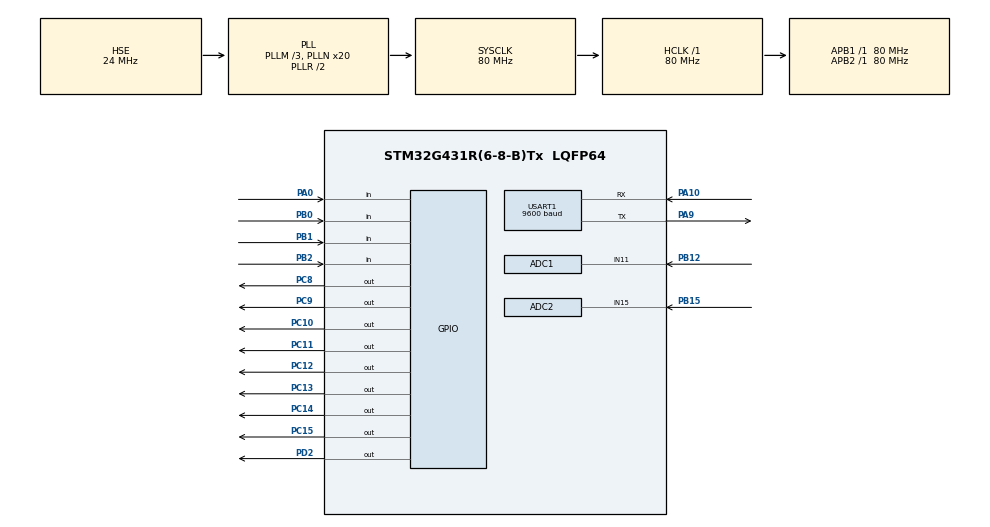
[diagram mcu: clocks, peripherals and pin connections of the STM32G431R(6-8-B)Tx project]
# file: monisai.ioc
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ADC1.Channel-0\#ChannelRegularConversion=ADC_CHANNEL_11
ADC1.NbrOfConversionFlag=1
ADC1.OffsetNumber-0\#ChannelRegularConversion=ADC_OFFSET_NONE
ADC1.Rank-0\#ChannelRegularConversion=1
ADC1.SamplingTime-0\#ChannelRegularConversion=ADC_SAMPLETIME_2CYCLES_5
ADC1.master=1
ADC2.Channel-0\#ChannelRegularConversion=ADC_CHANNEL_15
ADC2.NbrOfConversionFlag=1
ADC2.OffsetNumber-0\#ChannelRegularConversion=ADC_OFFSET_NONE
ADC2.Rank-0\#ChannelRegularConversion=1
ADC2.SamplingTime-0\#ChannelRegularConversion=ADC_SAMPLETIME_2CYCLES_5
Mcu.Family=STM32G4
Mcu.Name=STM32G431R(6-8-B)Tx
Mcu.Package=LQFP64
NVIC.ADC1_2_IRQn=true\:0\:0\:false\:false\:true\:true\:true
NVIC.PriorityGroup=NVIC_PRIORITYGROUP_4
NVIC.TIM2_IRQn=true\:0\:0\:true\:false\:true\:true\:true
NVIC.USART1_IRQn=true\:0\:0\:false\:false\:true\:true\:true
PA0.GPIO_PuPd=GPIO_PULLUP
PA0.Signal=GPIO_Input
PA10.Mode=Asynchronous
PA10.Signal=USART1_RX
PA13.Mode=Serial_Wire
PA13.Signal=SYS_JTMS-SWDIO
PA14.Mode=Serial_Wire
PA14.Signal=SYS_JTCK-SWCLK
PA9.Mode=Asynchronous
PA9.Signal=USART1_TX
PB0.GPIO_PuPd=GPIO_PULLUP
PB0.Signal=GPIO_Input
PB1.GPIO_PuPd=GPIO_PULLUP
PB1.Signal=GPIO_Input
PB12.Mode=IN11-Single-Ended
PB12.Signal=ADC1_IN11
PB15.Mode=IN15-Single-Ended
PB15.Signal=ADC2_IN15
PB2.GPIO_PuPd=GPIO_PULLUP
PB2.Signal=GPIO_Input
PC10.Signal=GPIO_Output
PC11.Signal=GPIO_Output
PC12.Signal=GPIO_Output
PC13.Signal=GPIO_Output
PC14-OSC32_IN.Signal=GPIO_Output
PC15-OSC32_OUT.Signal=GPIO_Output
PC8.Signal=GPIO_Output
PC9.Signal=GPIO_Output
PD2.Signal=GPIO_Output
PF0-OSC_IN.Mode=HSE-External-Oscillator
PF0-OSC_IN.Signal=RCC_OSC_IN
PF1-OSC_OUT.Mode=HSE-External-Oscillator
PF1-OSC_OUT.Signal=RCC_OSC_OUT
ProjectManager.HeapSize=0x200
ProjectManager.StackSize=0x400
ProjectManager.TargetToolchain=MDK-ARM V5
RCC.ADC12Freq_Value=80000000
RCC.AHBFreq_Value=80000000
RCC.APB1Freq_Value=80000000
RCC.APB1TimFreq_Value=80000000
RCC.APB2Freq_Value=80000000
RCC.APB2TimFreq_Value=80000000
RCC.CortexFreq_Value=80000000
RCC.EXTERNAL_CLOCK_VALUE=12288000
RCC.HCLKFreq_Value=80000000
RCC.HSE_VALUE=24000000
RCC.HSI48_VALUE=48000000
RCC.HSI_VALUE=16000000
RCC.LSE_VALUE=32768
RCC.PLLM=RCC_PLLM_DIV3
RCC.PLLN=20
RCC.PLLSourceVirtual=RCC_PLLSOURCE_HSE
RCC.SYSCLKFreq_VALUE=80000000
RCC.SYSCLKSource=RCC_SYSCLKSOURCE_PLLCLK
RCC.USBFreq_Value=80000000
RCC.VCOOutputFreq_Value=160000000
TIM2.PeriodNoDither=10000-1
TIM2.Prescaler=80-1
USART1.BaudRate=9600
USART1.VirtualMode-Asynchronous=VM_ASYNC
USART1.WordLength=WORDLENGTH_8B
VP_SYS_VS_DBSignals.Mode=DisableDeadBatterySignals
VP_TIM2_VS_ClockSourceINT.Mode=Internal
board=custom

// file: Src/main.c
/* USER CODE BEGIN Header */
/**
  ******************************************************************************
  * @file           : main.c
  * @brief          : Main program body
  ******************************************************************************
  * @attention
  *
  * <h2><center>&copy; Copyright (c) 2024 STMicroelectronics.
  * All rights reserved.</center></h2>
  *
  * This software component is licensed by ST under BSD 3-Clause license,
  * the "License"; You may not use this file except in compliance with the
  * License. You may obtain a copy of the License at:
  *                        opensource.org/licenses/BSD-3-Clause
  *
  ******************************************************************************
  */
/* USER CODE END Header */

#include "main.h"
#include "adc.h"
#include "tim.h"
#include "usart.h"
#include "gpio.h"

/* USER CODE BEGIN Includes */
#include "stdio.h"
#include "lcd.h"
#include "led.h"
#include "key.h"
#include "myfile.h"
#include "string.h"
/* USER CODE END Includes */

/* USER CODE BEGIN PV */

//R37 R38电压值变量定义
float v_37,v_38;
//R37 R38电压值上下限定义
float standard_37_up=2.2;
float standard_37_down=1.2;
float standard_38_up=3.0;
float standard_38_down=1.4;

//总检测数，符合标准数，合格率的变量定义
uint8_t check_total_37=0;
uint8_t standard_total_37=0;
float qulify_ratio_37=0.0;

uint8_t check_total_38=0;
uint8_t standard_total_38=0;
float qulify_ratio_38=0.0;

//定义当前所处界面的变量
// 0--产品参数界面		1--标准设置界面	2--合格率界面
uint8_t menu=0;

//定义产品参数界面下要调整的检测标准变化的变量
//update_standard%4==0--调整产品R37上限
//update_standard%4==1--调整产品R37下限
//update_standard%4==2--调整产品R38上限
//update_standard%4==3--调整产品R38下限
int8_t update_standard=-1;

//定义R37 R38 是否检测合格的标志变量
uint8_t qulify_37=0;
uint8_t qulify_38=0;

//串口缓存
char TX_Buff[50];
char RX_Buff[50];

unsigned char BufIndex=0;
unsigned char Rxdat=0;

//标记R37,R38检测是否合格
uint8_t standard_37=0;
uint8_t standard_38=0;

//定时器计数
uint8_t tim_count=0;

/* USER CODE END PV */

void SystemClock_Config(void);

/* USER CODE BEGIN 0 */

//LCD显示函数
void Display_Lcd()
{

	char str[30];

	if((menu%3)==0)
	{
		sprintf(str,"       GOODS        ");
		LCD_DisplayStringLine(Line1,(u8*)str);
		sprintf(str,"     R37:%.2fV      ",v_37);
		LCD_DisplayStringLine(Line3,(u8*)str);
		sprintf(str,"     R38:%.2fV      ",v_38);
		LCD_DisplayStringLine(Line4,(u8*)str);
	}
	else if((menu%3)==1)
	{
		sprintf(str,"      STANDARD      ");
		LCD_DisplayStringLine(Line1,(u8*)str);
		sprintf(str,"    SR37:%.1f-%.1f    ",standard_37_down,standard_37_up);
		LCD_DisplayStringLine(Line3,(u8*)str);
		sprintf(str,"    SR38:%.1f-%.1f    ",standard_38_down,standard_38_up);
		LCD_DisplayStringLine(Line4,(u8*)str);
	}
	else
	{
		sprintf(str,"        PASS        ");
		LCD_DisplayStringLine(Line1,(u8*)str);
		sprintf(str,"     PR37:%.1f%%     ",qulify_ratio_37);
		LCD_DisplayStringLine(Line3,(u8*)str);
		sprintf(str,"     PR38:%.1f%%     ",qulify_ratio_38);
		LCD_DisplayStringLine(Line4,(u8*)str);
	}

}

//获取电压值
void Get_ADC(uint8_t type)
{

	if(type==38)
	{
		HAL_ADC_Start(&hadc1);
		v_38=HAL_ADC_GetValue(&hadc1);
		HAL_ADC_Stop(&hadc1);
		v_38=v_38*3.3/4096;
	}
	else
	{
		HAL_ADC_Start(&hadc2);
		v_37=HAL_ADC_GetValue(&hadc2);
		HAL_ADC_Stop(&hadc2);
		v_37=v_37*3.3/4096;
	}

}

/* USER CODE END 0 */

int main(void)
{

  /* MCU Configuration--------------------------------------------------------*/

  /* Reset of all peripherals, Initializes the Flash interface and the Systick. */
  HAL_Init();

  /* Configure the system clock */
  SystemClock_Config();

  /* Initialize all configured peripherals */
  MX_GPIO_Init();
  MX_ADC1_Init();
  MX_ADC2_Init();
  MX_TIM2_Init();
  MX_USART1_UART_Init();
  /* USER CODE BEGIN 2 */

	HAL_UART_Receive_IT(&huart1, &Rxdat, 1);
	sys_Init();
  /* USER CODE END 2 */

  /* Infinite loop */
  while (1)
  {

    /* USER CODE BEGIN 3 */
		sys_work();

  }
  /* USER CODE END 3 */
}

void SystemClock_Config(void)
{
  RCC_OscInitTypeDef RCC_OscInitStruct = {0};
  RCC_ClkInitTypeDef RCC_ClkInitStruct = {0};
  RCC_PeriphCLKInitTypeDef PeriphClkInit = {0};

  /** Configure the main internal regulator output voltage
  */
  HAL_PWREx_ControlVoltageScaling(PWR_REGULATOR_VOLTAGE_SCALE1);
  /** Initializes the CPU, AHB and APB busses clocks
  */
  RCC_OscInitStruct.OscillatorType = RCC_OSCILLATORTYPE_HSE;
  RCC_OscInitStruct.HSEState = RCC_HSE_ON;
  RCC_OscInitStruct.PLL.PLLState = RCC_PLL_ON;
  RCC_OscInitStruct.PLL.PLLSource = RCC_PLLSOURCE_HSE;
  RCC_OscInitStruct.PLL.PLLM = RCC_PLLM_DIV3;
  RCC_OscInitStruct.PLL.PLLN = 20;
  RCC_OscInitStruct.PLL.PLLP = RCC_PLLP_DIV2;
  RCC_OscInitStruct.PLL.PLLQ = RCC_PLLQ_DIV2;
  RCC_OscInitStruct.PLL.PLLR = RCC_PLLR_DIV2;
  if (HAL_RCC_OscConfig(&RCC_OscInitStruct) != HAL_OK)
  {
    Error_Handler();
  }
  /** Initializes the CPU, AHB and APB busses clocks
  */
  RCC_ClkInitStruct.ClockType = RCC_CLOCKTYPE_HCLK|RCC_CLOCKTYPE_SYSCLK
                              |RCC_CLOCKTYPE_PCLK1|RCC_CLOCKTYPE_PCLK2;
  RCC_ClkInitStruct.SYSCLKSource = RCC_SYSCLKSOURCE_PLLCLK;
  RCC_ClkInitStruct.AHBCLKDivider = RCC_SYSCLK_DIV1;
  RCC_ClkInitStruct.APB1CLKDivider = RCC_HCLK_DIV1;
  RCC_ClkInitStruct.APB2CLKDivider = RCC_HCLK_DIV1;

  if (HAL_RCC_ClockConfig(&RCC_ClkInitStruct, FLASH_LATENCY_3) != HAL_OK)
  {
    Error_Handler();
  }
  /** Initializes the peripherals clocks
  */
  PeriphClkInit.PeriphClockSelection = RCC_PERIPHCLK_USART1|RCC_PERIPHCLK_ADC12;
  PeriphClkInit.Usart1ClockSelection = RCC_USART1CLKSOURCE_PCLK2;
  PeriphClkInit.Adc12ClockSelection = RCC_ADC12CLKSOURCE_SYSCLK;
  if (HAL_RCCEx_PeriphCLKConfig(&PeriphClkInit) != HAL_OK)
  {
    Error_Handler();
  }
}

void Error_Handler(void)
{
}

/************************ (C) COPYRIGHT STMicroelectronics *****END OF FILE****/
